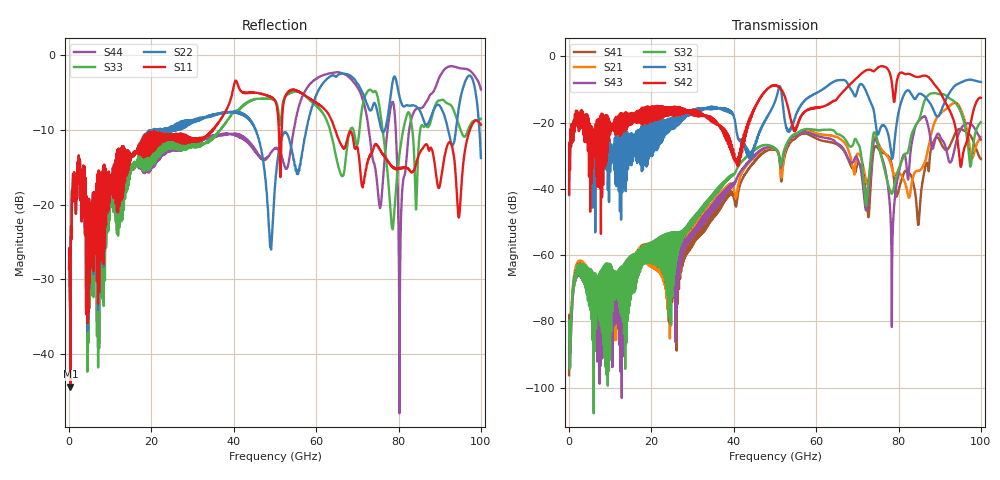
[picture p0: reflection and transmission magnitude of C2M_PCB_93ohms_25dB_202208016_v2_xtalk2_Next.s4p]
! Info: Touchstone file created by Circ.  Input file=Intel_C2M_200G_10p5in_202208016_staggered.circ
# Hz S RI R 50
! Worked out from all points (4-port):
!   10000 points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, 10 MHz to 100 GHz, reference 50 ohm
!   strongest paths, dB at 10 MHz, 25.01 GHz, 50.01 GHz, 75.01 GHz, 100 GHz:
!     S42: -41.5, -16.9, -8.6, -3.4, -12.5
!     S31: -41.9, -20.9, -13.5, -23.5, -7.7
!     S32: -79.8, -63.4, -27.9, -26.1, -19.8
!     S43: -87.8, -63.0, -28.0, -26.8, -25.1
!     S21: -80.8, -68.8, -28.0, -26.0, -24.4
!     S41: -96.2, -64.2, -28.2, -27.7, -31.0
!   lowest |S11| = -44.4 dB at 320 MHz (marker M1), VSWR 1.01, Z = 49.7 + j0.517 ohm
!   |S11| at or under -10 dB: start of sweep to 34.77 GHz; 50.94 GHz to 51.62 GHz (679.8 MHz wide, 1.33 % of centre); 64.63 GHz to 97.32 GHz (32.69 GHz wide, 40.4 % of centre)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
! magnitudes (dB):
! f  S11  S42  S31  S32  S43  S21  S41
! 10 MHz  -28.5  -41.5  -41.9  -79.8  -87.8  -80.8  -96.2
! 320 MHz  -44.4  -22.3  -22.3  -85.1  -88.2  -84.4  -85.0
! 56.28 GHz  -5.0  -18.4  -14.8  -22.5  -23.1  -22.6  -23.5
! 74.54 GHz  -12.0  -3.9  -21.4  -23.9  -25.4  -24.7  -27.1
! 78.42 GHz  -14.9  -8.4  -30.9  -41.4  -66.6  -33.8  -33.0
! 85.06 GHz  -13.2  -6.2  -11.3  -18.9  -19.3  -34.5  -47.5
! 100 GHz  -9.3  -12.5  -7.7  -19.8  -25.1  -24.4  -31.0
